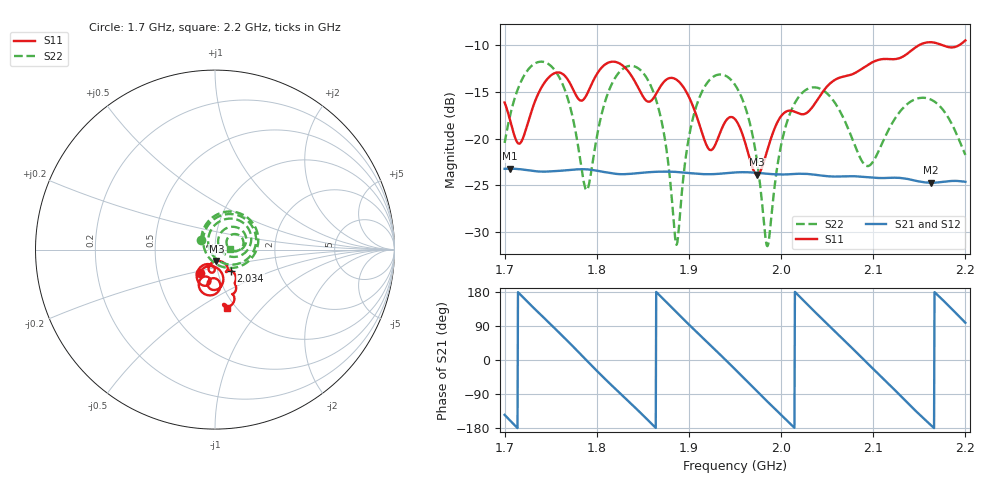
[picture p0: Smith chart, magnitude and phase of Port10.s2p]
# Hz S RI R 50
! CMT, CMT808U, 21440046, 21.4.3/4
! Date: 11/17/2025 2:50:12 PM
! Data: Format (Calibration Info)
! Freq	S11:Re/Im(F2)	S41:Re/Im(F2)	S14:Re/Im(F2)	S44:Re/Im(F2)
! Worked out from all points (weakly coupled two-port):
!   1001 points, 1.7 GHz to 2.2 GHz, reference 50 ohm
!   highest |S21| = -23.22 dB at 1.706 GHz (marker M1); lowest = -24.7 dB at 2.163 GHz (marker M2)
!   lowest |S11| = -23.9 dB at 1.974 GHz (marker M3), VSWR 1.14, Z = 50.4 - j6.43 ohm
!   |S11| at or under -10 dB: start of sweep to 2.15 GHz; 2.174 GHz to 2.194 GHz (19.71 MHz wide, 0.903 % of centre)
!   |S22| runs from -31.5 to -11.8 dB; largest |S21 - S12| = 0.00021
!   S11 on the Smith chart (normalised r, x): 1.7 GHz: 0.82, -0.22; 2.034 GHz: 1.16, -0.28; 2.2 GHz: 0.91, -0.67
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1.7e9  -0.0828 -0.132  -0.0563 -0.0397  -0.0564 -0.0397  -0.0764 0.056
1.706e9  -0.0666 -0.1058  -0.0648 -0.0239  -0.0648 -0.0238  -0.0631 0.1172
1.7175e9  -0.00529 -0.095  -0.0678 0.0101  -0.0678 0.0102  0.0191 0.1991
1.7485e9  0.0277 -0.2116  -0.00884 0.0661  -0.00877 0.0662  0.2412 0.0578
1.7835e9  -0.00552 -0.1592  0.0669 0.0151  0.067 0.015  -0.0102 -0.0684
1.7905e9  0.0222 -0.1757  0.0681 -0.00578  0.0682 -0.00588  -0.0529 -0.013
1.8085e9  0.0019 -0.2474  0.0436 -0.0498  0.0435 -0.0499  -0.0243 0.1525
1.828e9  -0.0758 -0.2336  -0.00449 -0.0644  -0.00459 -0.0644  0.1462 0.1839
1.867e9  -0.0257 -0.1804  -0.0661 0.0075  -0.0661 0.00761  0.1203 -0.0811
1.8865e9  -0.0869 -0.1868  -0.039 0.0536  -0.039 0.0537  -0.0239 -0.0127
1.911e9  -0.0759 -0.0932  0.0247 0.0598  0.0248 0.0598  0.0325 0.1606
1.924e9  -0.0248 -0.0831  0.0513 0.0391  0.0514 0.0391  0.1285 0.1649
1.95e9  -0.0298 -0.1234  0.06 -0.0272  0.06 -0.0273  0.1928 0.0167
1.974e9  0.00788 -0.0635  0.00809 -0.0651  0.00798 -0.0651  0.0679 -0.033
1.9855e9  0.0493 -0.073  -0.0227 -0.0607  -0.0228 -0.0607  0.0234 0.0129
2.005e9  0.0691 -0.1205  -0.0589 -0.0258  -0.059 -0.0257  0.0452 0.107
2.0335e9  0.0872 -0.1173  -0.0452 0.0458  -0.0452 0.0459  0.1616 0.0947
2.0345e9  0.0897 -0.1182  -0.0432 0.0476  -0.0431 0.0477  0.1639 0.0912
2.092e9  0.1178 -0.2128  0.0621 -0.00501  0.0621 -0.00511  0.0689 0.0199
2.117e9  0.0964 -0.2475  0.0273 -0.0553  0.0272 -0.0554  0.0817 0.0769
2.163e9  0.0687 -0.3193  -0.0576 -0.00716  -0.0577 -0.00705  0.1581 0.0308
2.2e9  0.0671 -0.327  -0.00846 0.0581  -0.00836 0.0581  0.0817 0.00326
